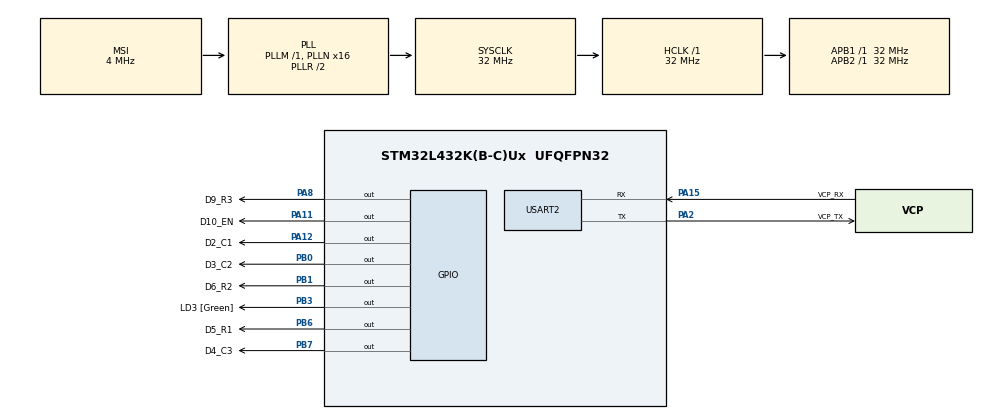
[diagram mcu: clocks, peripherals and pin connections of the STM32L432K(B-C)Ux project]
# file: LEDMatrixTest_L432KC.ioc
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Mcu.Family=STM32L4
Mcu.Name=STM32L432K(B-C)Ux
Mcu.Package=UFQFPN32
NVIC.PriorityGroup=NVIC_PRIORITYGROUP_4
PA0.GPIO_Label=MCO [High speed clock in]
PA0.Mode=HSE-External-Clock-Source-for-LittleOrca
PA0.Signal=RCC_CK_IN
PA11.GPIO_Label=D10_EN
PA11.Signal=GPIO_Output
PA12.GPIO_Label=D2_C1
PA12.Signal=GPIO_Output
PA13\ (JTMS-SWDIO).GPIO_Label=SWDIO
PA13\ (JTMS-SWDIO).Mode=Serial_Wire
PA13\ (JTMS-SWDIO).Signal=SYS_JTMS-SWDIO
PA14\ (JTCK-SWCLK).GPIO_Label=SWCLK
PA14\ (JTCK-SWCLK).Mode=Serial_Wire
PA14\ (JTCK-SWCLK).Signal=SYS_JTCK-SWCLK
PA15\ (JTDI).GPIO_Label=VCP_RX
PA15\ (JTDI).Mode=Asynchronous
PA15\ (JTDI).Signal=USART2_RX
PA2.GPIO_Label=VCP_TX
PA2.Mode=Asynchronous
PA2.Signal=USART2_TX
PA8.GPIO_Label=D9_R3
PA8.Signal=GPIO_Output
PB0.GPIO_Label=D3_C2
PB0.Signal=GPIO_Output
PB1.GPIO_Label=D6_R2
PB1.Signal=GPIO_Output
PB3\ (JTDO-TRACESWO).GPIO_Label=LD3 [Green]
PB3\ (JTDO-TRACESWO).Signal=GPIO_Output
PB6.GPIO_Label=D5_R1
PB6.Signal=GPIO_Output
PB7.GPIO_Label=D4_C3
PB7.Signal=GPIO_Output
PC14-OSC32_IN\ (PC14).Mode=LSE-External-Oscillator
PC14-OSC32_IN\ (PC14).Signal=RCC_OSC32_IN
PC15-OSC32_OUT\ (PC15).Mode=LSE-External-Oscillator
PC15-OSC32_OUT\ (PC15).Signal=RCC_OSC32_OUT
ProjectManager.HeapSize=0x200
ProjectManager.StackSize=0x400
ProjectManager.TargetToolchain=STM32CubeIDE
RCC.AHBFreq_Value=32000000
RCC.APB1Freq_Value=32000000
RCC.APB1TimFreq_Value=32000000
RCC.APB2Freq_Value=32000000
RCC.APB2TimFreq_Value=32000000
RCC.CortexFreq_Value=32000000
RCC.HCLKFreq_Value=32000000
RCC.HSE_VALUE=8000000
RCC.HSI16_VALUE=16000000
RCC.HSI48_VALUE=48000000
RCC.HSI_VALUE=16000000
RCC.MSI_VALUE=4000000
RCC.PLLMUL=RCC_PLLMUL_4
RCC.PLLN=16
RCC.SYSCLKFreq_VALUE=32000000
RCC.SYSCLKSource=RCC_SYSCLKSOURCE_PLLCLK
RCC.VCOOutputFreq_Value=64000000
USART2.VirtualMode-Asynchronous=VM_ASYNC
board=NUCLEO-L432KC

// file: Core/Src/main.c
/* USER CODE BEGIN Header */
/**
 ******************************************************************************
 * @file           : main.c
 * @brief          : Main program body
 ******************************************************************************
 * @attention
 *
 * <h2><center>&copy; Copyright (c) 2020 STMicroelectronics.
 * All rights reserved.</center></h2>
 *
 * This software component is licensed by ST under BSD 3-Clause license,
 * the "License"; You may not use this file except in compliance with the
 * License. You may obtain a copy of the License at:
 *                        opensource.org/licenses/BSD-3-Clause
 *
 ******************************************************************************
 */
/* USER CODE END Header */
#include "main.h"

UART_HandleTypeDef huart2;

void SystemClock_Config(void);
static void MX_GPIO_Init(void);
static void MX_USART2_UART_Init(void);
/* USER CODE BEGIN PFP */
static void SetRow(unsigned int rowMask);
static void SetCol(unsigned int colMask);
/* USER CODE END PFP */

int main(void)
{

  /* MCU Configuration--------------------------------------------------------*/

  /* Reset of all peripherals, Initializes the Flash interface and the Systick. */
  HAL_Init();

  /* Configure the system clock */
  SystemClock_Config();

  /* Initialize all configured peripherals */
  MX_GPIO_Init();
  MX_USART2_UART_Init();
  /* USER CODE BEGIN 2 */
	// Ground all the outputs
	HAL_GPIO_WritePin(GPIOA, D2_C1_Pin, GPIO_PIN_RESET); // D2 aka C1
	HAL_GPIO_WritePin(GPIOB, D3_C2_Pin, GPIO_PIN_RESET); // D3 aka C2
	HAL_GPIO_WritePin(GPIOB, D4_C3_Pin, GPIO_PIN_RESET); // D4 aka C3
	HAL_GPIO_WritePin(GPIOB, D5_R1_Pin, GPIO_PIN_RESET); // D5 aka R1
	HAL_GPIO_WritePin(GPIOB, D6_R2_Pin, GPIO_PIN_RESET); // D6 aka R2
	HAL_GPIO_WritePin(GPIOA, D9_R3_Pin, GPIO_PIN_RESET); // D9 aka R3
	HAL_GPIO_WritePin(GPIOA, D10_EN_Pin, GPIO_PIN_RESET); // D10 aka EN
	HAL_Delay(500);
  /* USER CODE END 2 */

  /* Infinite loop */
  /* USER CODE BEGIN WHILE */
	while (1)
	{
//		HAL_Delay(5);
		SetRow(0);
		SetCol(0);
		HAL_GPIO_WritePin(GPIOB, LD3_Pin, GPIO_PIN_RESET);
		HAL_GPIO_WritePin(GPIOA, D10_EN_Pin, GPIO_PIN_RESET); // D10 aka EN
//		HAL_Delay(500);
		HAL_GPIO_WritePin(GPIOB, LD3_Pin, GPIO_PIN_SET);
		HAL_GPIO_WritePin(GPIOA, D10_EN_Pin, GPIO_PIN_SET); // D10 aka EN
		for (unsigned int r = 0; r < 8; r++) {
			SetRow(r);
			for (unsigned int c = 0; c < 8; c++) {
				SetCol(c);
//				HAL_Delay(1);
			}
//			HAL_Delay(1);
		}

    /* USER CODE END WHILE */

	}
}

void SystemClock_Config(void)
{
  RCC_OscInitTypeDef RCC_OscInitStruct = {0};
  RCC_ClkInitTypeDef RCC_ClkInitStruct = {0};
  RCC_PeriphCLKInitTypeDef PeriphClkInit = {0};

  /** Configure LSE Drive Capability
  */
  HAL_PWR_EnableBkUpAccess();
  __HAL_RCC_LSEDRIVE_CONFIG(RCC_LSEDRIVE_LOW);
  /** Initializes the RCC Oscillators according to the specified parameters
  * in the RCC_OscInitTypeDef structure.
  */
  RCC_OscInitStruct.OscillatorType = RCC_OSCILLATORTYPE_LSE|RCC_OSCILLATORTYPE_MSI;
  RCC_OscInitStruct.LSEState = RCC_LSE_ON;
  RCC_OscInitStruct.MSIState = RCC_MSI_ON;
  RCC_OscInitStruct.MSICalibrationValue = 0;
  RCC_OscInitStruct.MSIClockRange = RCC_MSIRANGE_6;
  RCC_OscInitStruct.PLL.PLLState = RCC_PLL_ON;
  RCC_OscInitStruct.PLL.PLLSource = RCC_PLLSOURCE_MSI;
  RCC_OscInitStruct.PLL.PLLM = 1;
  RCC_OscInitStruct.PLL.PLLN = 16;
  RCC_OscInitStruct.PLL.PLLP = RCC_PLLP_DIV7;
  RCC_OscInitStruct.PLL.PLLQ = RCC_PLLQ_DIV2;
  RCC_OscInitStruct.PLL.PLLR = RCC_PLLR_DIV2;
  if (HAL_RCC_OscConfig(&RCC_OscInitStruct) != HAL_OK)
  {
    Error_Handler();
  }
  /** Initializes the CPU, AHB and APB buses clocks
  */
  RCC_ClkInitStruct.ClockType = RCC_CLOCKTYPE_HCLK|RCC_CLOCKTYPE_SYSCLK
                              |RCC_CLOCKTYPE_PCLK1|RCC_CLOCKTYPE_PCLK2;
  RCC_ClkInitStruct.SYSCLKSource = RCC_SYSCLKSOURCE_PLLCLK;
  RCC_ClkInitStruct.AHBCLKDivider = RCC_SYSCLK_DIV1;
  RCC_ClkInitStruct.APB1CLKDivider = RCC_HCLK_DIV1;
  RCC_ClkInitStruct.APB2CLKDivider = RCC_HCLK_DIV1;

  if (HAL_RCC_ClockConfig(&RCC_ClkInitStruct, FLASH_LATENCY_1) != HAL_OK)
  {
    Error_Handler();
  }
  PeriphClkInit.PeriphClockSelection = RCC_PERIPHCLK_USART2;
  PeriphClkInit.Usart2ClockSelection = RCC_USART2CLKSOURCE_PCLK1;
  if (HAL_RCCEx_PeriphCLKConfig(&PeriphClkInit) != HAL_OK)
  {
    Error_Handler();
  }
  /** Configure the main internal regulator output voltage
  */
  if (HAL_PWREx_ControlVoltageScaling(PWR_REGULATOR_VOLTAGE_SCALE1) != HAL_OK)
  {
    Error_Handler();
  }
  /** Enable MSI Auto calibration
  */
  HAL_RCCEx_EnableMSIPLLMode();
}

static void MX_USART2_UART_Init(void)
{

  huart2.Instance = USART2;
  huart2.Init.BaudRate = 115200;
  huart2.Init.WordLength = UART_WORDLENGTH_8B;
  huart2.Init.StopBits = UART_STOPBITS_1;
  huart2.Init.Parity = UART_PARITY_NONE;
  huart2.Init.Mode = UART_MODE_TX_RX;
  huart2.Init.HwFlowCtl = UART_HWCONTROL_NONE;
  huart2.Init.OverSampling = UART_OVERSAMPLING_16;
  huart2.Init.OneBitSampling = UART_ONE_BIT_SAMPLE_DISABLE;
  huart2.AdvancedInit.AdvFeatureInit = UART_ADVFEATURE_NO_INIT;
  if (HAL_UART_Init(&huart2) != HAL_OK)
  {
    Error_Handler();
  }

}

static void MX_GPIO_Init(void)
{
  GPIO_InitTypeDef GPIO_InitStruct = {0};

  /* GPIO Ports Clock Enable */
  __HAL_RCC_GPIOC_CLK_ENABLE();
  __HAL_RCC_GPIOA_CLK_ENABLE();
  __HAL_RCC_GPIOB_CLK_ENABLE();

  /*Configure GPIO pin Output Level */
  HAL_GPIO_WritePin(GPIOB, D3_C2_Pin|D6_R2_Pin|LD3_Pin|D5_R1_Pin
                          |D4_C3_Pin, GPIO_PIN_RESET);

  /*Configure GPIO pin Output Level */
  HAL_GPIO_WritePin(GPIOA, D9_R3_Pin|D10_EN_Pin|D2_C1_Pin, GPIO_PIN_RESET);

  /*Configure GPIO pins : D3_C2_Pin D6_R2_Pin LD3_Pin D5_R1_Pin
                           D4_C3_Pin */
  GPIO_InitStruct.Pin = D3_C2_Pin|D6_R2_Pin|LD3_Pin|D5_R1_Pin
                          |D4_C3_Pin;
  GPIO_InitStruct.Mode = GPIO_MODE_OUTPUT_PP;
  GPIO_InitStruct.Pull = GPIO_NOPULL;
  GPIO_InitStruct.Speed = GPIO_SPEED_FREQ_LOW;
  HAL_GPIO_Init(GPIOB, &GPIO_InitStruct);

  /*Configure GPIO pins : D9_R3_Pin D10_EN_Pin D2_C1_Pin */
  GPIO_InitStruct.Pin = D9_R3_Pin|D10_EN_Pin|D2_C1_Pin;
  GPIO_InitStruct.Mode = GPIO_MODE_OUTPUT_PP;
  GPIO_InitStruct.Pull = GPIO_NOPULL;
  GPIO_InitStruct.Speed = GPIO_SPEED_FREQ_LOW;
  HAL_GPIO_Init(GPIOA, &GPIO_InitStruct);

}

/* USER CODE BEGIN 4 */
static void SetRow(unsigned int rowMask) {
	unsigned int rowM = rowMask &0x07;

	switch (rowM) {
	case 0:
		HAL_GPIO_WritePin(GPIOB, D5_R1_Pin, GPIO_PIN_RESET); // R1
		HAL_GPIO_WritePin(GPIOB, D6_R2_Pin, GPIO_PIN_RESET); // R2
		HAL_GPIO_WritePin(GPIOA, D9_R3_Pin, GPIO_PIN_RESET); // R3
		break;
	case 1:
		HAL_GPIO_WritePin(GPIOB, D5_R1_Pin, GPIO_PIN_SET); // R1
		HAL_GPIO_WritePin(GPIOB, D6_R2_Pin, GPIO_PIN_RESET); // R2
		HAL_GPIO_WritePin(GPIOA, D9_R3_Pin, GPIO_PIN_RESET); // R3
		break;
	case 2:
		HAL_GPIO_WritePin(GPIOB, D5_R1_Pin, GPIO_PIN_RESET); // R1
		HAL_GPIO_WritePin(GPIOB, D6_R2_Pin, GPIO_PIN_SET); // R2
		HAL_GPIO_WritePin(GPIOA, D9_R3_Pin, GPIO_PIN_RESET); // R3
		break;
	case 3:
		HAL_GPIO_WritePin(GPIOB, D5_R1_Pin, GPIO_PIN_SET); // R1
		HAL_GPIO_WritePin(GPIOB, D6_R2_Pin, GPIO_PIN_SET); // R2
		HAL_GPIO_WritePin(GPIOA, D9_R3_Pin, GPIO_PIN_RESET); // R3
		break;
	case 4:
		HAL_GPIO_WritePin(GPIOB, D5_R1_Pin, GPIO_PIN_RESET); // R1
		HAL_GPIO_WritePin(GPIOB, D6_R2_Pin, GPIO_PIN_RESET); // R2
		HAL_GPIO_WritePin(GPIOA, D9_R3_Pin, GPIO_PIN_SET); // R3
		break;
	case 5:
		HAL_GPIO_WritePin(GPIOB, D5_R1_Pin, GPIO_PIN_SET); // R1
		HAL_GPIO_WritePin(GPIOB, D6_R2_Pin, GPIO_PIN_RESET); // R2
		HAL_GPIO_WritePin(GPIOA, D9_R3_Pin, GPIO_PIN_SET); // R3
		break;
	case 6:
		HAL_GPIO_WritePin(GPIOB, D5_R1_Pin, GPIO_PIN_RESET); // R1
		HAL_GPIO_WritePin(GPIOB, D6_R2_Pin, GPIO_PIN_SET); // R2
		HAL_GPIO_WritePin(GPIOA, D9_R3_Pin, GPIO_PIN_SET); // R3
		break;
	case 7:
		HAL_GPIO_WritePin(GPIOB, D5_R1_Pin, GPIO_PIN_SET); // R1
		HAL_GPIO_WritePin(GPIOB, D6_R2_Pin, GPIO_PIN_SET); // R2
		HAL_GPIO_WritePin(GPIOA, D9_R3_Pin, GPIO_PIN_SET); // R3
		break;
	default:
		HAL_GPIO_WritePin(GPIOB, D5_R1_Pin, GPIO_PIN_RESET); // R1
		HAL_GPIO_WritePin(GPIOB, D6_R2_Pin, GPIO_PIN_RESET); // R2
		HAL_GPIO_WritePin(GPIOA, D9_R3_Pin, GPIO_PIN_RESET); // R3
		break;
	}
} // SetRow

static void SetCol(unsigned int colMask) {
	unsigned int colM = colMask &0x07;

	switch (colM) {
	case 0:
		HAL_GPIO_WritePin(GPIOA, D2_C1_Pin, GPIO_PIN_RESET); // R1
		HAL_GPIO_WritePin(GPIOB, D3_C2_Pin, GPIO_PIN_RESET); // R2
		HAL_GPIO_WritePin(GPIOB, D4_C3_Pin, GPIO_PIN_RESET); // R3
		break;
	case 1:
		HAL_GPIO_WritePin(GPIOA, D2_C1_Pin, GPIO_PIN_SET); // R1
		HAL_GPIO_WritePin(GPIOB, D3_C2_Pin, GPIO_PIN_RESET); // R2
		HAL_GPIO_WritePin(GPIOB, D4_C3_Pin, GPIO_PIN_RESET); // R3
		break;
	case 2:
		HAL_GPIO_WritePin(GPIOA, D2_C1_Pin, GPIO_PIN_RESET); // R1
		HAL_GPIO_WritePin(GPIOB, D3_C2_Pin, GPIO_PIN_SET); // R2
		HAL_GPIO_WritePin(GPIOB, D4_C3_Pin, GPIO_PIN_RESET); // R3
		break;
	case 3:
		HAL_GPIO_WritePin(GPIOA, D2_C1_Pin, GPIO_PIN_SET); // R1
		HAL_GPIO_WritePin(GPIOB, D3_C2_Pin, GPIO_PIN_SET); // R2
		HAL_GPIO_WritePin(GPIOB, D4_C3_Pin, GPIO_PIN_RESET); // R3
		break;
	case 4:
		HAL_GPIO_WritePin(GPIOA, D2_C1_Pin, GPIO_PIN_RESET); // R1
		HAL_GPIO_WritePin(GPIOB, D3_C2_Pin, GPIO_PIN_RESET); // R2
		HAL_GPIO_WritePin(GPIOB, D4_C3_Pin, GPIO_PIN_SET); // R3
		break;
	case 5:
		HAL_GPIO_WritePin(GPIOA, D2_C1_Pin, GPIO_PIN_SET); // R1
		HAL_GPIO_WritePin(GPIOB, D3_C2_Pin, GPIO_PIN_RESET); // R2
		HAL_GPIO_WritePin(GPIOB, D4_C3_Pin, GPIO_PIN_SET); // R3
		break;
	case 6:
		HAL_GPIO_WritePin(GPIOA, D2_C1_Pin, GPIO_PIN_RESET); // R1
		HAL_GPIO_WritePin(GPIOB, D3_C2_Pin, GPIO_PIN_SET); // R2
		HAL_GPIO_WritePin(GPIOB, D4_C3_Pin, GPIO_PIN_SET); // R3
		break;
	case 7:
		HAL_GPIO_WritePin(GPIOA, D2_C1_Pin, GPIO_PIN_SET); // R1
		HAL_GPIO_WritePin(GPIOB, D3_C2_Pin, GPIO_PIN_SET); // R2
		HAL_GPIO_WritePin(GPIOB, D4_C3_Pin, GPIO_PIN_SET); // R3
		break;
	default:
		HAL_GPIO_WritePin(GPIOA, D2_C1_Pin, GPIO_PIN_RESET); // R1
		HAL_GPIO_WritePin(GPIOB, D3_C2_Pin, GPIO_PIN_RESET); // R2
		HAL_GPIO_WritePin(GPIOB, D4_C3_Pin, GPIO_PIN_RESET); // R3
		break;
	}

} // SetCol

/* USER CODE END 4 */

void Error_Handler(void)
{
}

/************************ (C) COPYRIGHT STMicroelectronics *****END OF FILE****/
